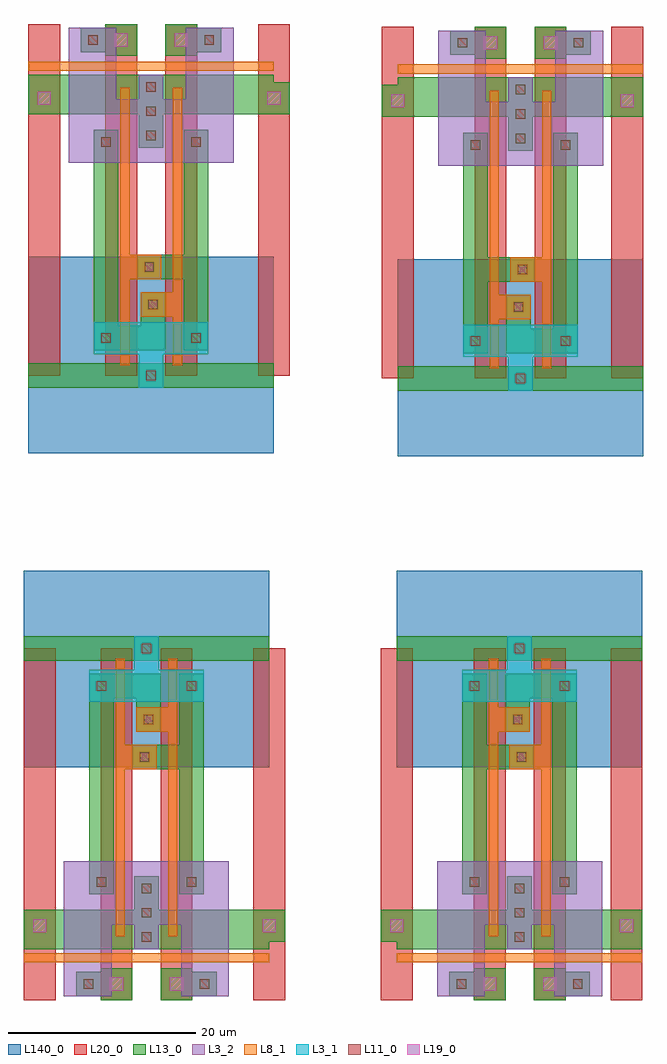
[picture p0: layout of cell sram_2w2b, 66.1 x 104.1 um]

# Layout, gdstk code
from math import pi, radians
import gdstk
lib = gdstk.Library(unit=1e-6, precision=1e-07)
def R(c, l, rs):  # rectangles x0, y0, x1, y1
    for r in rs: c.add(gdstk.rectangle(r[:2], r[2:], *l))
L3_1 = (3, 1)
L3_2 = (3, 2)
L8_1 = (8, 1)
L11_0 = (11, 0)
L13_0 = (13, 0)
L19_0 = (19, 0)
L20_0 = (20, 0)
L140_0 = (140, 0)

cont_p = lib.new_cell('cont_p')
R(cont_p, L3_1, [(-1.3,-1.3,1.3,1.3)])
R(cont_p, L11_0, [(-0.5,-0.5,0.5,0.5)])
R(cont_p, L13_0, [(-1.3,-1.3,1.3,1.3)])

cont_n = lib.new_cell('cont_n')
R(cont_n, L3_2, [(-1.3,-1.3,1.3,1.3)])
R(cont_n, L11_0, [(-0.5,-0.5,0.5,0.5)])
R(cont_n, L13_0, [(-1.3,-1.3,1.3,1.3)])

cont_g = lib.new_cell('cont_g')
R(cont_g, L8_1, [(-1.3,-1.3,1.3,1.3)])
R(cont_g, L11_0, [(-0.5,-0.5,0.5,0.5)])
R(cont_g, L13_0, [(-1.3,-1.3,1.3,1.3)])

via_1 = lib.new_cell('via_1')
R(via_1, L13_0, [(-1.7,-1.7,1.7,1.7)])
R(via_1, L19_0, [(-0.7,-0.7,0.7,0.7)])
R(via_1, L20_0, [(-1.7,-1.7,1.7,1.7)])

sram6t_tr10 = lib.new_cell('sram6t_tr10')
R(sram6t_tr10, L3_1, [(-405.9,10196.3,-393.7,10199.7), (-401.1,10199.7,-398.5,10200.7)])
R(sram6t_tr10, L3_2, [(-408.6,10164.9,-403.5,10172.5), (-396.1,10164.9,-391,10172.5), (-408.6,10172.5,-391,10179.3)])
R(sram6t_tr10, L8_1, [(-412.9,10168.5,-386.7,10169.5), (-403.1,10171.3,-402.1,10200.9), (-397.5,10171.3,-396.5,10200.9), (-402.1,10189.1,-401.3,10191.7), (-398.3,10193.1,-397.5,10195.7)])
R(sram6t_tr10, L13_0, [(-412.9,10169.9,-386.7,10174.1), (-401.1,10172.5,-398.5,10177.7), (-405.9,10175.8,-403.3,10196.7), (-396.3,10175.8,-393.7,10196.7), (-398.7,10189.1,-396.3,10191.7), (-400.9,10195.6,-398.3,10196.7), (-403.3,10196.7,-398.3,10199.3), (-412.9,10200.7,-386.7,10203.3)])
R(sram6t_tr10, L20_0, [(-412.9,10164.5,-409.5,10202), (-388.4,10164.5,-385,10202), (-404.7,10167.9,-401.3,10202), (-398.3,10167.9,-394.9,10202)])
R(sram6t_tr10, L140_0, [(-412.9,10189.3,-386.7,10210.3)])
r = gdstk.Reference(cont_p, (-399.8,10202)); r.repetition = gdstk.Repetition(1, 1, v1=(0,0), v2=(0,0)); sram6t_tr10.add(r)
r = gdstk.Reference(cont_p, (-395,10198)); r.repetition = gdstk.Repetition(1, 1, v1=(0,0), v2=(0,0)); sram6t_tr10.add(r)
r = gdstk.Reference(cont_p, (-404.6,10198)); r.repetition = gdstk.Repetition(1, 1, v1=(0,0), v2=(0,0)); sram6t_tr10.add(r)
r = gdstk.Reference(cont_n, (-395,10177.1)); r.repetition = gdstk.Repetition(1, 1, v1=(0,0), v2=(0,0)); sram6t_tr10.add(r)
r = gdstk.Reference(cont_n, (-399.8,10171.2)); r.repetition = gdstk.Repetition(1, 1, v1=(0,0), v2=(0,0)); sram6t_tr10.add(r)
r = gdstk.Reference(cont_n, (-404.6,10177.1)); r.repetition = gdstk.Repetition(1, 1, v1=(0,0), v2=(0,0)); sram6t_tr10.add(r)
r = gdstk.Reference(cont_g, (-399.6,10194.4)); r.repetition = gdstk.Repetition(1, 1, v1=(0,0), v2=(0,0)); sram6t_tr10.add(r)
r = gdstk.Reference(cont_g, (-400,10190.4)); r.repetition = gdstk.Repetition(1, 1, v1=(0,0), v2=(0,0)); sram6t_tr10.add(r)
r = gdstk.Reference(cont_n, (-406,10166.2)); r.repetition = gdstk.Repetition(1, 1, v1=(0,0), v2=(0,0)); sram6t_tr10.add(r)
r = gdstk.Reference(cont_n, (-393.6,10166.2)); r.repetition = gdstk.Repetition(1, 1, v1=(0,0), v2=(0,0)); sram6t_tr10.add(r)
r = gdstk.Reference(via_1, (-386.7,10172.4)); r.repetition = gdstk.Repetition(1, 1, v1=(0,0), v2=(0,0)); sram6t_tr10.add(r)
r = gdstk.Reference(via_1, (-396.6,10166.2)); r.repetition = gdstk.Repetition(1, 1, v1=(0,0), v2=(0,0)); sram6t_tr10.add(r)
r = gdstk.Reference(via_1, (-403,10166.2)); r.repetition = gdstk.Repetition(1, 1, v1=(0,0), v2=(0,0)); sram6t_tr10.add(r)
r = gdstk.Reference(cont_n, (-399.8,10173.8)); r.repetition = gdstk.Repetition(1, 1, v1=(0,0), v2=(0,0)); sram6t_tr10.add(r)
r = gdstk.Reference(cont_n, (-399.8,10176.4)); r.repetition = gdstk.Repetition(1, 1, v1=(0,0), v2=(0,0)); sram6t_tr10.add(r)
r = gdstk.Reference(via_1, (-411.2,10172.4)); r.repetition = gdstk.Repetition(1, 1, v1=(0,0), v2=(0,0)); sram6t_tr10.add(r)
sram6t_tr10.add(gdstk.Label('WL', (-400.9,10168.9), layer=48, texttype=0))
sram6t_tr10.add(gdstk.Label('Q', (-405,10184.4), layer=48, texttype=0))
sram6t_tr10.add(gdstk.Label('QB', (-395.1,10182.8), layer=48, texttype=0))
sram6t_tr10.add(gdstk.Label('VSS', (-411.7,10171), layer=48, texttype=0))
sram6t_tr10.add(gdstk.Label('BL', (-405.9,10166.3), layer=48, texttype=0))
sram6t_tr10.add(gdstk.Label('BLB', (-393.4,10166.1), layer=48, texttype=0))
sram6t_tr10.add(gdstk.Label('VDD', (-411.2,10201.8), layer=48, texttype=0))

sram_2w2b = lib.new_cell('sram_2w2b')
sram_2w2b.add(gdstk.Reference(sram6t_tr10, (-0.5,-29.1)))
sram_2w2b.add(gdstk.Reference(sram6t_tr10, (-760.3,-29.1), rotation=pi, x_reflection=True))
sram_2w2b.add(gdstk.Reference(sram6t_tr10, (-760.2,20403.7), rotation=pi))
sram_2w2b.add(gdstk.Reference(sram6t_tr10, (0,20404), x_reflection=True))

lib.write_gds('sram_2w2b.gds')
